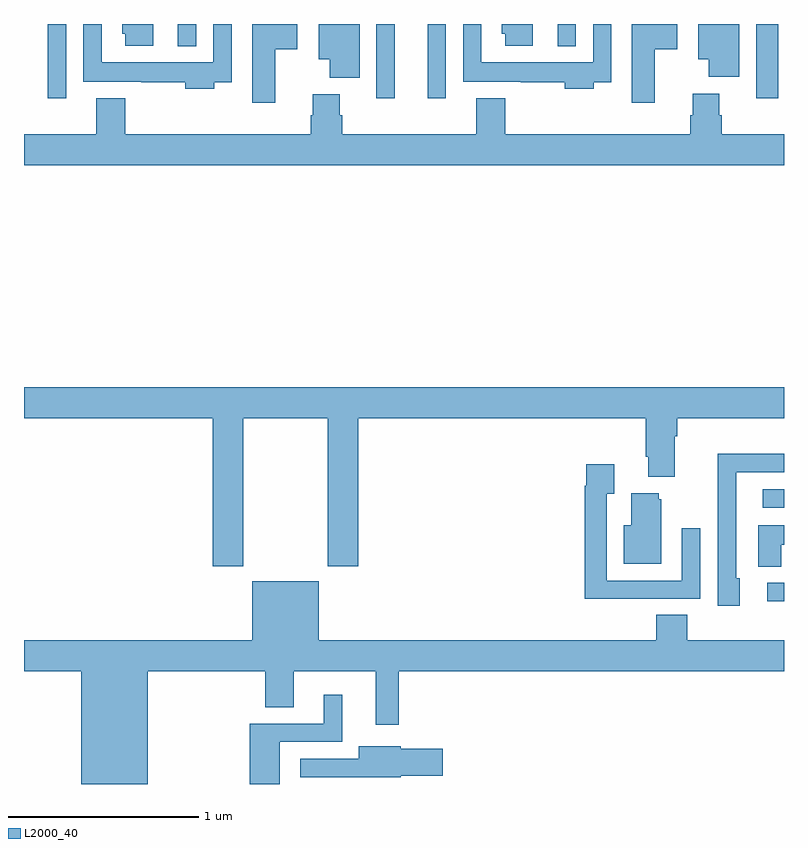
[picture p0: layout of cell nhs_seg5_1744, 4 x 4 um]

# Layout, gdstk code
import gdstk
lib = gdstk.Library(unit=1e-6, precision=1e-09)
def R(c, l, rs):  # rectangles x0, y0, x1, y1
    for r in rs: c.add(gdstk.rectangle(r[:2], r[2:], *l))
def P(c, l, *ps):  # polygons
    for p in ps: c.add(gdstk.Polygon(p, *l))
L2000_40 = (2000, 40)

nhs_seg5_1744 = lib.new_cell('nhs_seg5_1744')
R(nhs_seg5_1744, L2000_40, [(218.913,891.761,219,891.858), (218.889,892.254,219,892.35), (215.126,894.408,215.223,894.799), (216.855,894.408,216.952,894.799), (217.124,894.408,217.221,894.799), (218.853,894.408,218.969,894.799), (215.81,894.683,215.907,894.799), (217.808,894.683,217.905,894.799)])
P(nhs_seg5_1744, L2000_40, [(217.999,894.492),(218.091,894.492),(218.091,894.799),(217.995,894.799),(217.995,894.598),(217.407,894.598),(217.407,894.799),(217.311,894.799),(217.311,894.494),(217.615,894.494),(217.615,894.492),(217.847,894.492),(217.847,894.458),(217.999,894.458)],
  [(216.322,894.667),(216.439,894.667),(216.439,894.799),(216.2,894.799),(216.2,894.384),(216.322,894.384)],
  [(216.001,894.492),(216.093,894.492),(216.093,894.799),(215.997,894.799),(215.997,894.598),(215.409,894.598),(215.409,894.799),(215.313,894.799),(215.313,894.494),(215.617,894.494),(215.617,894.492),(215.849,894.492),(215.849,894.458),(216.001,894.458)],
  [(218.32,894.667),(218.437,894.667),(218.437,894.799),(218.198,894.799),(218.198,894.384),(218.32,894.384)],
  [(216.766,894.799),(216.551,894.799),(216.551,894.614),(216.608,894.614),(216.608,894.515),(216.766,894.515)],
  [(218.764,894.799),(218.549,894.799),(218.549,894.614),(218.603,894.614),(218.603,894.521),(218.764,894.521)],
  [(215.68,894.799),(215.516,894.799),(215.516,894.747),(215.534,894.747),(215.534,894.684),(215.68,894.684)],
  [(217.678,894.799),(217.514,894.799),(217.514,894.747),(217.532,894.747),(217.532,894.684),(217.678,894.684)],
  [(219,894.22),(218.672,894.22),(218.672,894.318),(218.659,894.318),(218.659,894.433),(218.519,894.433),(218.519,894.318),(218.507,894.318),(218.507,894.22),(217.532,894.22),(217.532,894.409),(217.379,894.409),(217.379,894.22),(216.674,894.22),(216.674,894.318),(216.661,894.318),(216.661,894.43),(216.521,894.43),(216.521,894.318),(216.509,894.318),(216.509,894.22),(215.534,894.22),(215.534,894.409),(215.381,894.409),(215.381,894.22),(215,894.22),(215,894.056),(219,894.056)],
  [(216.153,892.724),(216.598,892.724),(216.598,891.945),(216.758,891.945),(216.758,892.724),(218.273,892.724),(218.273,892.522),(218.285,892.522),(218.285,892.415),(218.425,892.415),(218.425,892.628),(218.438,892.628),(218.438,892.724),(219,892.724),(219,892.888),(215,892.888),(215,892.724),(215.993,892.724),(215.993,891.945),(216.153,891.945)],
  [(218.767,891.882),(218.748,891.882),(218.748,892.44),(219,892.44),(219,892.538),(218.65,892.538),(218.65,892.231),(218.652,892.231),(218.652,891.738),(218.767,891.738)],
  [(218.243,891.774),(218.559,891.774),(218.559,892.144),(218.463,892.144),(218.463,891.87),(218.067,891.87),(218.067,892.327),(218.107,892.327),(218.107,892.483),(217.959,892.483),(217.959,892.37),(217.951,892.37),(217.951,891.773),(218.243,891.773)],
  [(218.353,892.299),(218.342,892.299),(218.342,892.33),(218.195,892.33),(218.195,892.162),(218.156,892.162),(218.156,891.959),(218.353,891.959)],
  [(218.985,892.058),(219,892.058),(219,892.162),(218.864,892.162),(218.864,891.943),(218.985,891.943)],
  [(215.65,891.392),(216.269,891.392),(216.269,891.202),(216.421,891.202),(216.421,891.392),(216.851,891.392),(216.851,891.111),(216.973,891.111),(216.973,891.392),(219,891.392),(219,891.556),(218.492,891.556),(218.492,891.689),(218.327,891.689),(218.327,891.556),(216.55,891.556),(216.55,891.865),(216.2,891.865),(216.2,891.556),(215,891.556),(215,891.392),(215.3,891.392),(215.3,890.799),(215.65,890.799)],
  [(216.346,891.021),(216.676,891.021),(216.676,891.268),(216.578,891.268),(216.578,891.117),(216.188,891.117),(216.188,890.799),(216.346,890.799)],
  [(216.984,890.843),(217.204,890.843),(217.204,890.985),(216.984,890.985),(216.984,890.998),(216.761,890.998),(216.761,890.931),(216.453,890.931),(216.453,890.835),(216.765,890.835),(216.765,890.834),(216.984,890.834)])

lib.write_gds('nhs_seg5_1744.gds')
